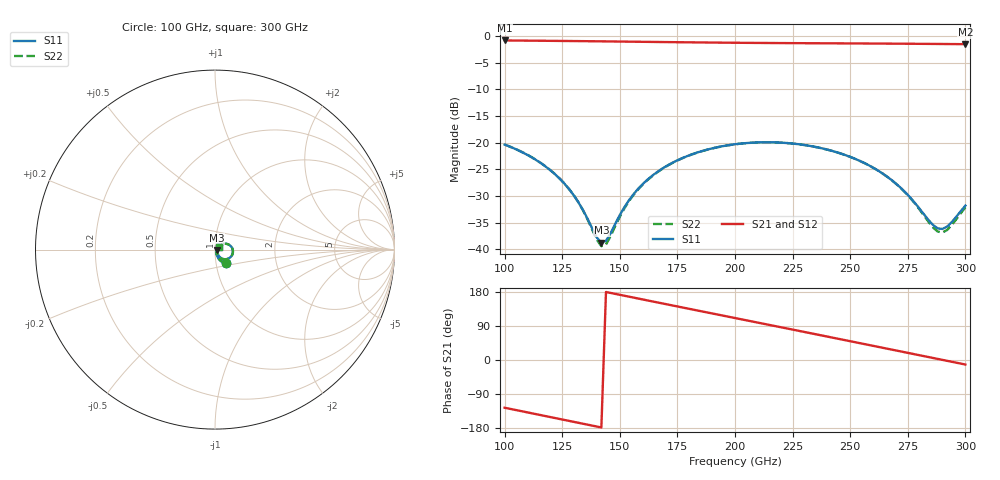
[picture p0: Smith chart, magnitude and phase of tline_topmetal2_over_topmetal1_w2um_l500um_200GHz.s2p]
#  GHZ S DB R 50
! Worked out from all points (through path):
!   101 points, 100 GHz to 300 GHz, reference 50 ohm
!   highest |S21| = -0.81 dB at 100 GHz (marker M1); lowest = -1.5 dB at 300 GHz (marker M2)
!   group delay of S21, straight-line fit = 3.41 ps
!   lowest |S11| = -38.8 dB at 142 GHz (marker M3), VSWR 1.02, Z = 51.1 - j0.418 ohm
!   |S11| at or under -10 dB: start of sweep to end of sweep
!   |S22| runs from -39.4 to -19.9 dB; largest |S21 - S12| = 1.5e-15
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100  -20.36 -50.2  -0.81 -126.0  -0.81 -126.0  -20.34 -50.8
110  -22.33 -59.9  -0.84 -138.4  -0.84 -138.4  -22.30 -60.7
120  -25.23 -67.9  -0.88 -150.8  -0.88 -150.8  -25.20 -69.0
128  -28.73 -70.8  -0.91 -160.7  -0.91 -160.7  -28.72 -72.5
134  -32.64 -66.6  -0.94 -168.2  -0.94 -168.2  -32.68 -69.0
140  -37.80 -40.2  -0.96 -175.6  -0.96 -175.6  -38.22 -43.5
142  -38.79 -20.8  -0.97 -178.1  -0.97 -178.1  -39.44 -23.2
144  -38.43 0.1  -0.98 179.5  -0.98 179.5  -39.12 -0.3
152  -32.10 36.2  -1.02 169.6  -1.02 169.6  -32.33 37.5
156  -29.65 38.8  -1.04 164.6  -1.04 164.6  -29.79 39.8
162  -26.95 37.7  -1.07 157.3  -1.07 157.3  -27.03 38.4
168  -24.99 34.0  -1.10 149.9  -1.10 149.9  -25.05 34.5
182  -22.08 21.9  -1.17 132.7  -1.17 132.7  -22.11 22.1
200  -20.30 3.9  -1.24 110.8  -1.24 110.8  -20.31 3.8
216  -19.93 -12.7  -1.29 91.2  -1.29 91.2  -19.94 -12.9
234  -20.73 -31.1  -1.33 69.2  -1.33 69.2  -20.73 -31.6
252  -23.02 -48.0  -1.37 47.2  -1.37 47.2  -23.01 -48.9
268  -27.03 -58.2  -1.41 27.5  -1.41 27.5  -27.05 -59.7
276  -30.28 -57.3  -1.43 17.6  -1.43 17.6  -30.35 -59.4
288  -36.10 -21.0  -1.46 2.8  -1.46 2.8  -36.70 -23.1
292  -35.78 3.0  -1.48 -2.1  -1.48 -2.1  -36.43 3.1
300  -31.82 28.7  -1.51 -11.9  -1.51 -11.9  -32.14 30.3
